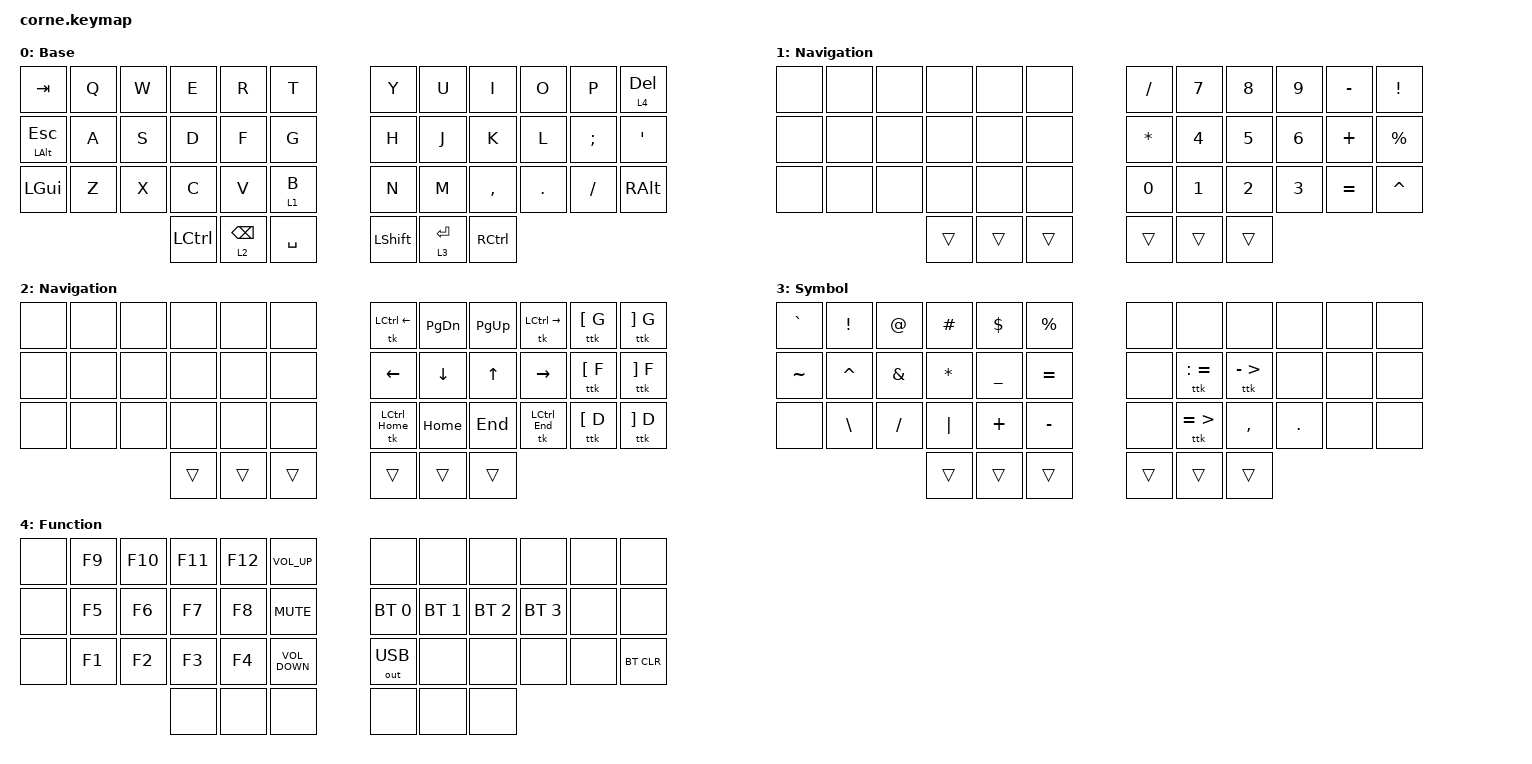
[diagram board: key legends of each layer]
/*
 * Copyright (c) 2020 The ZMK Contributors
 *
 * SPDX-License-Identifier: MIT
 */

#include <behaviors.dtsi>
#include <dt-bindings/zmk/bt.h>
#include <dt-bindings/zmk/keys.h>
#include <dt-bindings/zmk/outputs.h>

/ {
    combos {
        compatible = "zmk,combos";

        left_paren {
            bindings = <&kp LEFT_PARENTHESIS>;
            key-positions = <16 15>;
        };

        right_paren {
            bindings = <&kp RIGHT_PARENTHESIS>;
            key-positions = <19 20>;
        };

        left_bracket {
            bindings = <&kp LEFT_BRACKET>;
            key-positions = <4 3>;
        };

        right_bracket {
            bindings = <&kp RIGHT_BRACKET>;
            key-positions = <7 8>;
        };

        left_brace {
            bindings = <&kp LEFT_BRACE>;
            key-positions = <28 27>;
        };

        right_brace {
            bindings = <&kp RIGHT_BRACE>;
            key-positions = <31 32>;
        };

        left_arrow {
            bindings = <&kp LESS_THAN>;
            key-positions = <15 14>;
        };

        right_arrow {
            bindings = <&kp GREATER_THAN>;
            key-positions = <20 21>;
        };

        capslock {
            bindings = <&kp CAPSLOCK>;
            key-positions = <12 13>;
        };

        ctrlspace {
            bindings = <&tk LCTRL SPACE>;
            key-positions = <38 39>;
        };

        leftboot {
            bindings = <&bootloader>;
            key-positions = <0 5 38>;
        };

        rightboot {
            bindings = <&bootloader>;
            key-positions = <11 6 39>;
        };

        printscreen {
            bindings = <&kp PRINTSCREEN>;
            key-positions = <37 40>;
        };
    };

    macros {
        tk: tk {
            compatible = "zmk,behavior-macro-two-param";
            #binding-cells = <2>;
            bindings =
                <&macro_press>,
                <&macro_param_1to1 &kp MACRO_PLACEHOLDER>,
                <&macro_tap>,
                <&macro_param_2to1 &kp MACRO_PLACEHOLDER>,
                <&macro_release>,
                <&macro_param_1to1 &kp MACRO_PLACEHOLDER>;

            label = "TK";
        };

        ttk: ttk {
            compatible = "zmk,behavior-macro-two-param";
            #binding-cells = <2>;
            bindings =
                <&macro_tap>,
                <&macro_param_1to1 &kp MACRO_PLACEHOLDER>,
                <&macro_tap>,
                <&macro_param_2to1 &kp MACRO_PLACEHOLDER>;

            label = "TTK";
        };
    };

    behaviors {
        index_num: index_num {
            compatible = "zmk,behavior-hold-tap";
            label = "INDEX_NUM";
            bindings = <&mo>, <&kp>;

            #binding-cells = <2>;
            tapping-term-ms = <170>;
            quick-tap-ms = <300>;
            require-prior-idle-ms = <100>;
            flavor = "tap-preferred";
            hold-trigger-on-release;
            hold-trigger-key-positions = <6 18 30 31 7 19 20 21 22 23 10 11 9 8 32 35 34 33 41 40 39 38 37 36>;
        };

        thumb_nav: thumb_nav {
            compatible = "zmk,behavior-hold-tap";
            label = "THUMB_NAV";
            bindings = <&mo>, <&kp>;

            #binding-cells = <2>;
            flavor = "balanced";
            tapping-term-ms = <200>;
            quick-tap-ms = <300>;
            hold-trigger-key-positions = <36 37 38 39 40 41 18 6 30 32 31 19 7 8 20 9 21 33 11 10 22 23 35 34>;
        };

        thumb_sym: thumb_sym {
            compatible = "zmk,behavior-hold-tap";
            label = "THUMB_SYM";
            bindings = <&mo>, <&kp>;

            #binding-cells = <2>;
            tapping-term-ms = <200>;
            quick-tap-ms = <300>;
            flavor = "balanced";
            hold-trigger-key-positions = <19 31 33 20 32 39 40 41 38 37 36 0 12 13 14 15 17 5 4 16 3 2 1 25 27 26 29 28>;
        };

        pinky_func: pinky_func {
            compatible = "zmk,behavior-hold-tap";
            label = "PINKY_FUNC";
            bindings = <&mo>, <&kp>;

            #binding-cells = <2>;
            flavor = "balanced";
            tapping-term-ms = <200>;
            quick-tap-ms = <300>;
            hold-trigger-key-positions = <29 17 5 28 16 4 3 15 27 14 2 26 18 19 20 21 35 30>;
        };
    };

    keymap {
        compatible = "zmk,keymap";

        base {
            // -----------------------------------------------------------------------------------------
            // |  TAB |  Q  |  W  |  E  |  R  |  T  |   |  Y  |  U   |  I  |  O  |  P  | BKSP |
            // | CTRL |  A  |  S  |  D  |  F  |  G  |   |  H  |  J   |  K  |  L  |  ;  |  '   |
            // | SHFT |  Z  |  X  |  C  |  V  |  B  |   |  N  |  M   |  ,  |  .  |  /  | ESC  |
            //                    | GUI | LWR | SPC |   | ENT | RSE  | ALT |

            display-name = "Base";
            bindings = <
&kp TAB              &kp Q  &kp W  &kp E             &kp R                   &kp T             &kp Y           &kp U               &kp I              &kp O    &kp P     &pinky_func 4 DELETE
&mt LEFT_ALT ESCAPE  &kp A  &kp S  &kp D             &kp F                   &kp G             &kp H           &kp J               &kp K              &kp L    &kp SEMI  &kp SQT
&kp LEFT_GUI         &kp Z  &kp X  &kp C             &kp V                   &index_num 1 B    &kp N           &kp M               &kp COMMA          &kp DOT  &kp FSLH  &kp RIGHT_ALT
                                   &kp LEFT_CONTROL  &thumb_nav 2 BACKSPACE  &kp SPACE         &kp LEFT_SHIFT  &thumb_sym 3 ENTER  &kp RIGHT_CONTROL
            >;

            label = "Base";
        };

        number {
            // -----------------------------------------------------------------------------------------
            // |  TAB |  !  |  @  |  #  |  $  |  %  |   |  ^  |  &  |  *  |  (  |  )  | BKSP |
            // | CTRL |     |     |     |     |     |   |  -  |  =  |  [  |  ]  |  \  |  `   |
            // | SHFT |     |     |     |     |     |   |  _  |  +  |  {  |  }  | "|" |  ~   |
            //                    | GUI |     | SPC |   | ENT |     | ALT |

            display-name = "Navigation";
            bindings = <
&none  &none  &none  &none   &none   &none     &kp SLASH     &kp NUMBER_7  &kp NUMBER_8  &kp NUMBER_9  &kp MINUS  &kp EXCL
&none  &none  &none  &none   &none   &none     &kp ASTERISK  &kp NUMBER_4  &kp NUMBER_5  &kp NUMBER_6  &kp PLUS   &kp PERCENT
&none  &none  &none  &none   &none   &none     &kp NUMBER_0  &kp NUMBER_1  &kp NUMBER_2  &kp NUMBER_3  &kp EQUAL  &kp CARET
                     &trans  &trans  &trans    &trans        &trans        &trans
            >;

            label = "Number";
        };

        navigation {
            bindings = <
&none  &none  &none  &none   &none   &none     &tk LCTRL LEFT  &kp PAGE_DOWN   &kp PAGE_UP   &tk LCTRL RIGHT_ARROW  &ttk LEFT_BRACKET G  &ttk RIGHT_BRACKET G
&none  &none  &none  &none   &none   &none     &kp LEFT        &kp DOWN_ARROW  &kp UP_ARROW  &kp RIGHT_ARROW        &ttk LEFT_BRACKET F  &ttk RIGHT_BRACKET F
&none  &none  &none  &none   &none   &none     &tk LCTRL HOME  &kp HOME        &kp END       &tk LCTRL END          &ttk LEFT_BRACKET D  &ttk RIGHT_BRACKET D
                     &trans  &trans  &trans    &trans          &trans          &trans
            >;

            label = "Navigation";
        };

        symbol {
            bindings = <
&kp GRAVE  &kp EXCL       &kp AT     &kp POUND  &kp DLLR   &kp PRCNT    &none   &none                    &none                    &none       &none  &none
&kp TILDE  &kp CARET      &kp AMPS   &kp ASTRK  &kp UNDER  &kp EQUAL    &none   &ttk COLON EQUAL         &ttk MINUS GREATER_THAN  &none       &none  &none
&none      &kp BACKSLASH  &kp SLASH  &kp PIPE   &kp PLUS   &kp MINUS    &none   &ttk EQUAL GREATER_THAN  &kp COMMA                &kp PERIOD  &none  &none
                                     &trans     &trans     &trans       &trans  &trans                   &trans
            >;

            label = "Symbol";
        };

        function {
            bindings = <
&none  &kp F9  &kp F10  &kp F11  &kp F12  &kp C_VOLUME_UP      &none         &none         &none         &none         &none  &none
&none  &kp F5  &kp F6   &kp F7   &kp F8   &kp K_MUTE           &bt BT_SEL 0  &bt BT_SEL 1  &bt BT_SEL 2  &bt BT_SEL 3  &none  &none
&none  &kp F1  &kp F2   &kp F3   &kp F4   &kp C_VOLUME_DOWN    &out OUT_USB  &none         &none         &none         &none  &bt BT_CLR
                        &none    &none    &none                &none         &none         &none
            >;

            label = "Function";
        };
    };
};
